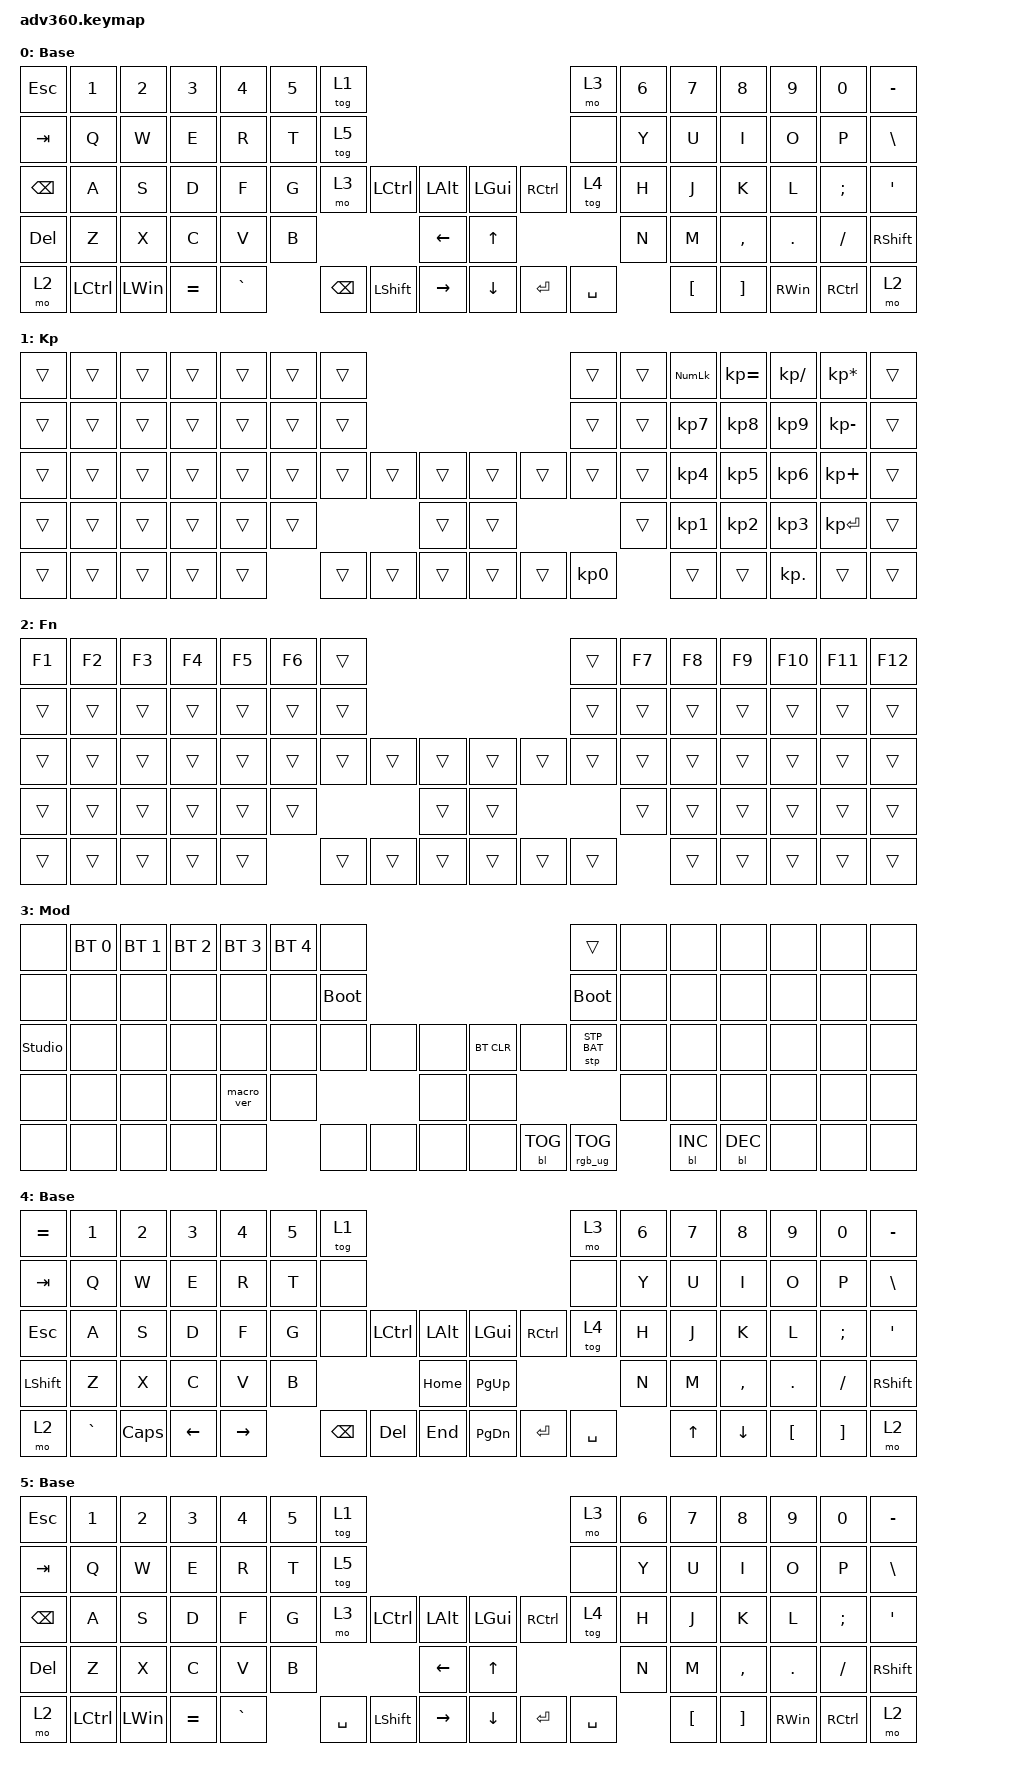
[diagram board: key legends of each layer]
#include <dt-bindings/zmk/stp.h>
#include <behaviors.dtsi>
#include <dt-bindings/zmk/backlight.h>
#include <dt-bindings/zmk/bt.h>
#include <dt-bindings/zmk/keys.h>
#include <dt-bindings/zmk/rgb.h>

/ {
    behaviors {
        #include "macros.dtsi"
      #include "version.dtsi"

        hm: homerow_mods {
            compatible = "zmk,behavior-hold-tap";
            label = "HOMEROW_MODS";
            #binding-cells = <2>;
            tapping-term-ms = <200>;
            quick_tap_ms = <175>;
            flavor = "tap-preferred";
            bindings = <&kp>, <&kp>;
        };
    };

    keymap {
        compatible = "zmk,keymap";

        default_layer {
            display-name = "Base";
            bindings = <
&kp ESCAPE     &kp N1            &kp N2        &kp N3     &kp N4     &kp N5  &tog 1                                                            &mo 3      &kp N6  &kp N7            &kp N8             &kp N9         &kp N0             &kp MINUS
&kp TAB        &kp Q             &kp W         &kp E      &kp R      &kp T   &tog 5                                                            &none      &kp Y   &kp U             &kp I              &kp O          &kp P              &kp BSLH
&kp BACKSPACE  &kp A             &kp S         &kp D      &kp F      &kp G   &mo 3     &kp LCTRL       &kp LALT       &kp LGUI      &kp RCTRL  &tog 4     &kp H   &kp J             &kp K              &kp L          &kp SEMI           &kp SQT
&kp DELETE     &kp Z             &kp X         &kp C      &kp V      &kp B                             &kp LEFT       &kp UP_ARROW                        &kp N   &kp M             &kp COMMA          &kp DOT        &kp FSLH           &kp RSHFT
&mo 2          &kp LEFT_CONTROL  &kp LEFT_WIN  &kp EQUAL  &kp GRAVE          &kp BSPC  &kp LEFT_SHIFT  &kp RIGHT      &kp DOWN      &kp ENTER  &kp SPACE          &kp LEFT_BRACKET  &kp RIGHT_BRACKET  &kp RIGHT_WIN  &kp RIGHT_CONTROL  &mo 2
            >;
        };

        keypad {
            display-name = "Kp";
            bindings = <
&trans  &trans  &trans  &trans  &trans  &trans  &trans                                      &trans     &trans  &kp KP_NUM  &kp KP_EQUAL  &kp KP_DIVIDE  &kp KP_MULTIPLY  &trans
&trans  &trans  &trans  &trans  &trans  &trans  &trans                                      &trans     &trans  &kp KP_N7   &kp KP_N8     &kp KP_N9      &kp KP_MINUS     &trans
&trans  &trans  &trans  &trans  &trans  &trans  &trans  &trans  &trans      &trans  &trans  &trans     &trans  &kp KP_N4   &kp KP_N5     &kp KP_N6      &kp KP_PLUS      &trans
&trans  &trans  &trans  &trans  &trans  &trans                  &trans      &trans                     &trans  &kp KP_N1   &kp KP_N2     &kp KP_N3      &kp KP_ENTER     &trans
&trans  &trans  &trans  &trans  &trans          &trans  &trans  &trans      &trans  &trans  &kp KP_N0          &trans      &trans        &kp KP_DOT     &trans           &trans
            >;
        };

        fn {
            display-name = "Fn";
            bindings = <
&kp F1  &kp F2  &kp F3  &kp F4  &kp F5  &kp F6  &trans                                      &trans  &kp F7  &kp F8  &kp F9  &kp F10  &kp F11  &kp F12
&trans  &trans  &trans  &trans  &trans  &trans  &trans                                      &trans  &trans  &trans  &trans  &trans   &trans   &trans
&trans  &trans  &trans  &trans  &trans  &trans  &trans  &trans  &trans      &trans  &trans  &trans  &trans  &trans  &trans  &trans   &trans   &trans
&trans  &trans  &trans  &trans  &trans  &trans                  &trans      &trans                  &trans  &trans  &trans  &trans   &trans   &trans
&trans  &trans  &trans  &trans  &trans          &trans  &trans  &trans      &trans  &trans  &trans          &trans  &trans  &trans   &trans   &trans
            >;
        };

        mod {
            display-name = "Mod";
            bindings = <
&none           &bt BT_SEL 0  &bt BT_SEL 1  &bt BT_SEL 2  &bt BT_SEL 3  &bt BT_SEL 4  &none                                                  &trans           &none  &none       &none       &none  &none  &none
&none           &none         &none         &none         &none         &none         &bootloader                                            &bootloader      &none  &none       &none       &none  &none  &none
&studio_unlock  &none         &none         &none         &none         &none         &none        &none  &none      &bt BT_CLR  &none       &stp STP_BAT     &none  &none       &none       &none  &none  &none
&none           &none         &none         &none         &macro_ver    &none                             &none      &none                                    &none  &none       &none       &none  &none  &none
&none           &none         &none         &none         &none                       &none        &none  &none      &none       &bl BL_TOG  &rgb_ug RGB_TOG         &bl BL_INC  &bl BL_DEC  &none  &none  &none
            >;
        };

        layer_4 {
            display-name = "Base";
            bindings = <
&kp EQUAL  &kp N1     &kp N2    &kp N3    &kp N4     &kp N5  &tog 1                                                   &mo 3      &kp N6  &kp N7  &kp N8     &kp N9    &kp N0    &kp MINUS
&kp TAB    &kp Q      &kp W     &kp E     &kp R      &kp T   &none                                                    &none      &kp Y   &kp U   &kp I      &kp O     &kp P     &kp BSLH
&kp ESC    &kp A      &kp S     &kp D     &kp F      &kp G   &none     &kp LCTRL  &kp LALT      &kp LGUI   &kp RCTRL  &tog 4     &kp H   &kp J   &kp K      &kp L     &kp SEMI  &kp SQT
&kp LSHFT  &kp Z      &kp X     &kp C     &kp V      &kp B                        &kp HOME      &kp PG_UP                        &kp N   &kp M   &kp COMMA  &kp DOT   &kp FSLH  &kp RSHFT
&mo 2      &kp GRAVE  &kp CAPS  &kp LEFT  &kp RIGHT          &kp BSPC  &kp DEL    &kp END       &kp PG_DN  &kp ENTER  &kp SPACE          &kp UP  &kp DOWN   &kp LBKT  &kp RBKT  &mo 2
            >;

            label = "Backup default config";
        };

        layer_5 {
            display-name = "Base";
            bindings = <
&kp ESCAPE     &kp N1            &kp N2        &kp N3     &kp N4     &kp N5  &tog 1                                                             &mo 3      &kp N6  &kp N7            &kp N8             &kp N9         &kp N0             &kp MINUS
&kp TAB        &kp Q             &kp W         &kp E      &kp R      &kp T   &tog 5                                                             &none      &kp Y   &kp U             &kp I              &kp O          &kp P              &kp BSLH
&kp BACKSPACE  &kp A             &kp S         &kp D      &kp F      &kp G   &mo 3      &kp LCTRL       &kp LALT       &kp LGUI      &kp RCTRL  &tog 4     &kp H   &kp J             &kp K              &kp L          &kp SEMI           &kp SQT
&kp DELETE     &kp Z             &kp X         &kp C      &kp V      &kp B                              &kp LEFT       &kp UP_ARROW                        &kp N   &kp M             &kp COMMA          &kp DOT        &kp FSLH           &kp RSHFT
&mo 2          &kp LEFT_CONTROL  &kp LEFT_WIN  &kp EQUAL  &kp GRAVE          &kp SPACE  &kp LEFT_SHIFT  &kp RIGHT      &kp DOWN      &kp ENTER  &kp SPACE          &kp LEFT_BRACKET  &kp RIGHT_BRACKET  &kp RIGHT_WIN  &kp RIGHT_CONTROL  &mo 2
            >;
        };
    };
};
